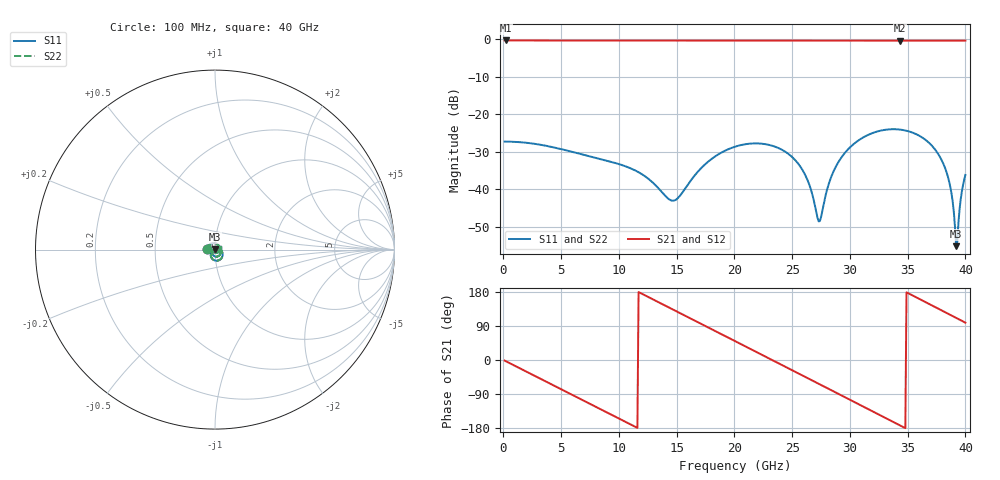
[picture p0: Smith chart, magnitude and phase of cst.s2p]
! thru_ts6_L6: 2×thru, L6, 8 mm
! stackup: ThunderScope Rev5.3 6-layer (FR408HR / FR-4, from the board file)
! ports: 1, 2
! CST Studio Suite 2025.5 Release from 2025-05-30, time domain (FIT, hexahedral, PBA), 80301 mesh cells, 18 s
! mesh: {'lpw': 20, 'lpb': 20, 'minstep': 0.0, 'ratio': 20}; ports: port 1 (face); port 2 (face)
! interpolated from CST's 1001 samples to the case grid
# Hz S RI R 50
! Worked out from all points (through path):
!   400 points, 100 MHz to 40 GHz, reference 50 ohm
!   highest |S21| = -0.38 dB at 200 MHz (marker M1); lowest = -0.4 dB at 34.3 GHz (marker M2)
!   group delay of S21, straight-line fit = 43.1 ps
!   lowest |S11| = -55.1 dB at 39.2 GHz (marker M3), VSWR 1.00, Z = 49.9 + j0.123 ohm
!   |S11| at or under -10 dB: start of sweep to end of sweep
!   |S22| runs from -55.1 to -24.0 dB; largest |S21 - S12| = 3.2e-07
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1e8  -0.0432 0.00143  0.9564 -0.0258  0.9564 -0.0258  -0.0432 0.00143
2e8  -0.0432 0.00286  0.9553 -0.0516  0.9553 -0.0516  -0.0432 0.00286
3.8e9  -0.00966 0.0365  0.4964 -0.8169  0.4964 -0.8169  -0.00966 0.0365
6.8e9  0.0236 0.0174  -0.2479 -0.9222  -0.2479 -0.9222  0.0236 0.0174
1.03e10  0.0127 -0.0167  -0.8913 -0.3407  -0.8913 -0.3407  0.0127 -0.0167
1.34e10  -0.00839 -0.00623  -0.8504 0.4333  -0.8504 0.4333  -0.00839 -0.00623
1.48e10  -0.00503 0.00507  -0.6303 0.7168  -0.6303 0.7168  -0.00503 0.00507
1.68e10  0.0132 0.0107  -0.1711 0.9388  -0.1711 0.9388  0.0132 0.0107
2.01e10  0.0312 -0.0204  0.6234 0.7209  0.6234 0.7209  0.0312 -0.0204
2.34e10  -0.00164 -0.0376  0.9519 -0.034  0.9519 -0.034  -0.00164 -0.0376
2.54e10  -0.0149 -0.0179  0.7978 -0.5208  0.7978 -0.5208  -0.0149 -0.0179
2.67e10  -0.00882 -0.00217  0.5683 -0.7649  0.5683 -0.7649  -0.00882 -0.00217
2.74e10  -0.000973 0.00368  0.4131 -0.8588  0.4131 -0.8588  -0.000973 0.00368
2.83e10  0.012 0.00633  0.1923 -0.9332  0.1923 -0.9332  0.012 0.00633
2.94e10  0.0284 0.000728  -0.0918 -0.9479  -0.0918 -0.9479  0.0284 0.000728
3.34e10  0.0241 -0.0582  -0.8807 -0.3564  -0.8807 -0.3564  0.0241 -0.0582
3.43e10  0.00847 -0.062  -0.9407 -0.1319  -0.9407 -0.1319  0.00847 -0.062
3.8e10  -0.0191 -0.0138  -0.6118 0.7282  -0.6118 0.7282  -0.0191 -0.0138
3.88e10  -0.00843 -0.00248  -0.4385 0.8441  -0.4385 0.8441  -0.00843 -0.00248
3.92e10  -0.00126 0.00123  -0.3433 0.8871  -0.3433 0.8871  -0.00126 0.00123
3.96e10  0.00673 0.00333  -0.2438 0.9193  -0.2438 0.9193  0.00673 0.00333
4e10  0.0152 0.00366  -0.1414 0.9404  -0.1414 0.9404  0.0152 0.00366
